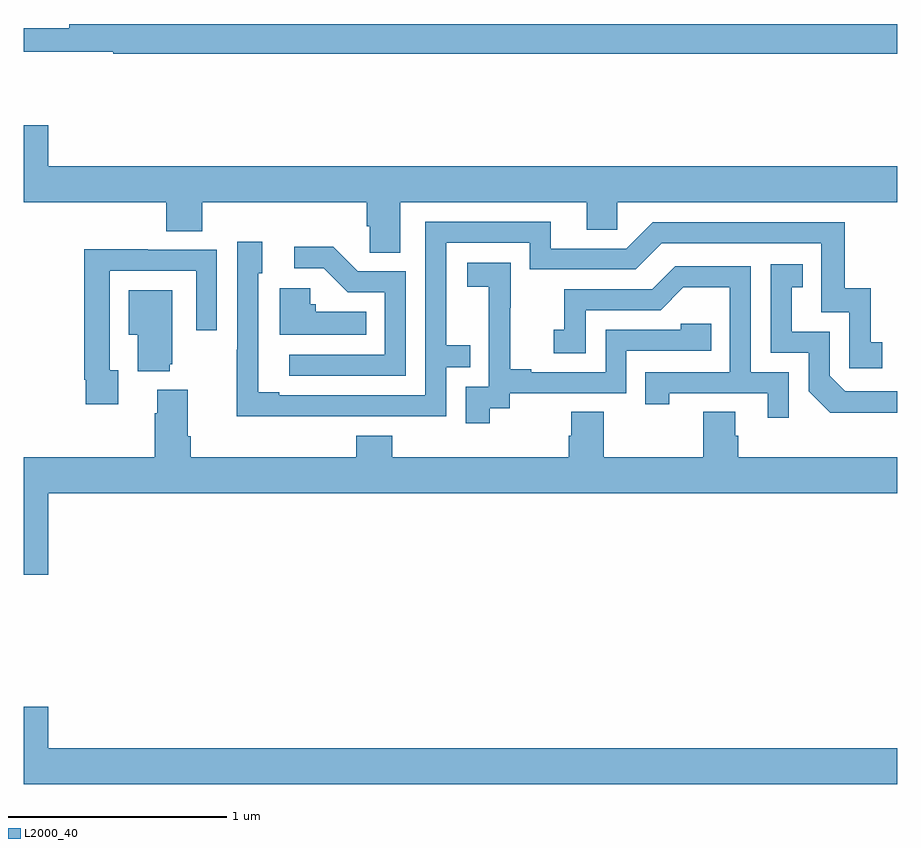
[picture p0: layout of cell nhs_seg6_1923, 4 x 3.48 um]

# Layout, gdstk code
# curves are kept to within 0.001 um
import gdstk
lib = gdstk.Library(unit=1e-6, precision=1e-09)
def P(c, l, *ps):  # polygons
    for p in ps: c.add(gdstk.Polygon(p, *l))
L2000_40 = (2000, 40)

nhs_seg6_1923 = lib.new_cell('nhs_seg6_1923')
P(nhs_seg6_1923, L2000_40, [(229,993.44),(225.208,993.44),(225.208,993.421),(225,993.421),(225,993.312),(225.41,993.312),(225.41,993.304),(229,993.304)],
  [(226.723,992.624),(227.579,992.624),(227.579,992.497),(227.718,992.497),(227.718,992.624),(229,992.624),(229,992.788),(225.112,992.788),(225.112,992.977),(225,992.977),(225,992.624),(225.653,992.624),(225.653,992.491),(225.818,992.491),(225.818,992.624),(226.571,992.624),(226.571,992.515),(226.584,992.515),(226.584,992.392),(226.723,992.392)],
  [(226.439,991.644),(226.935,991.644),(226.935,991.869),(227.045,991.869),(227.045,991.97),(226.935,991.97),(226.935,992.439),(227.316,992.439),(227.316,992.316),(227.802,992.316),(227.922,992.436),(228.651,992.436),(228.651,992.121),(228.78,992.121),(228.78,991.863),(228.931,991.863),(228.931,991.983),(228.878,991.983),(228.878,992.23),(228.76,992.23),(228.76,992.532),(227.88,992.532),(227.76,992.412),(227.413,992.412),(227.413,992.535),(226.839,992.535),(226.839,991.74),(226.171,991.74),(226.171,991.753),(226.074,991.753),(226.074,992.298),(226.093,992.298),(226.093,992.443),(225.978,992.443),(225.978,991.949),(225.976,991.949),(225.976,991.643)],
  [(226.749,992.307),(226.53,992.307),(226.417,992.42),(226.239,992.42),(226.239,992.322),(226.373,992.322),(226.484,992.211),(226.653,992.211),(226.653,991.926),(226.215,991.926),(226.215,991.83),(226.749,991.83)],
  [(225.433,991.854),(225.393,991.854),(225.393,992.31),(225.789,992.31),(225.789,992.037),(225.885,992.037),(225.885,992.406),(225.569,992.406),(225.569,992.408),(225.277,992.408),(225.277,991.81),(225.285,991.81),(225.285,991.698),(225.433,991.698)],
  [(227.134,991.681),(227.226,991.681),(227.226,991.749),(227.76,991.749),(227.76,991.944),(228.149,991.944),(228.149,992.067),(228.009,992.067),(228.009,992.04),(227.664,992.04),(227.664,991.845),(227.323,991.845),(227.323,991.858),(227.228,991.858),(227.228,992.141),(227.229,992.141),(227.229,992.347),(227.031,992.347),(227.031,992.237),(227.129,992.237),(227.129,992.009),(227.13,992.009),(227.13,991.779),(227.025,991.779),(227.025,991.611),(227.134,991.611)],
  [(229,991.758),(228.762,991.758),(228.69,991.83),(228.69,992.031),(228.517,992.031),(228.517,992.235),(228.566,992.235),(228.566,992.341),(228.42,992.341),(228.42,991.935),(228.594,991.935),(228.594,991.758),(228.692,991.661),(229,991.661)],
  [(228.504,991.845),(228.33,991.845),(228.33,992.331),(227.984,992.331),(227.879,992.226),(227.476,992.226),(227.476,992.041),(227.427,992.041),(227.427,991.932),(227.574,991.932),(227.574,992.13),(227.916,992.13),(228.02,992.234),(228.234,992.234),(228.234,991.845),(227.845,991.845),(227.845,991.698),(227.956,991.698),(227.956,991.749),(228.407,991.749),(228.407,991.638),(228.504,991.638)],
  [(226.568,992.122),(226.338,992.122),(226.338,992.157),(226.311,992.157),(226.311,992.23),(226.172,992.23),(226.172,992.018),(226.568,992.018)],
  [(225.668,991.881),(225.679,991.881),(225.679,992.221),(225.482,992.221),(225.482,992.018),(225.521,992.018),(225.521,991.85),(225.668,991.85)],
  [(225.112,991.292),(229,991.292),(229,991.456),(228.272,991.456),(228.272,991.554),(228.259,991.554),(228.259,991.664),(228.112,991.664),(228.112,991.456),(227.655,991.456),(227.655,991.664),(227.507,991.664),(227.507,991.554),(227.495,991.554),(227.495,991.456),(226.688,991.456),(226.688,991.555),(226.523,991.555),(226.523,991.456),(225.764,991.456),(225.764,991.552),(225.751,991.552),(225.751,991.765),(225.611,991.765),(225.611,991.658),(225.599,991.658),(225.599,991.456),(225,991.456),(225,990.918),(225.112,990.918)],
  [(229,990.124),(225.112,990.124),(225.112,990.313),(225,990.313),(225,989.96),(229,989.96)])

lib.write_gds('nhs_seg6_1923.gds')
